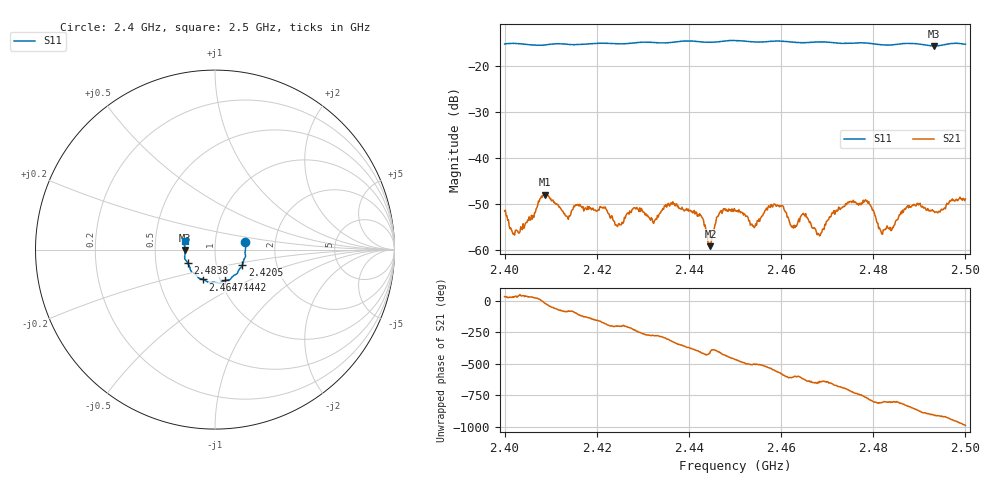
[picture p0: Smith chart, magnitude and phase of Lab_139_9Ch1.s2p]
# Hz S RI R 50
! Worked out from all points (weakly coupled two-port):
!   601 points, 2.4 GHz to 2.5 GHz, reference 50 ohm
!   highest |S21| = -47.91 dB at 2.4087 GHz (marker M1); lowest = -59.1 dB at 2.4447 GHz (marker M2)
!   lowest |S11| = -15.6 dB at 2.4932 GHz (marker M3), VSWR 1.40, Z = 35.8 - j0.164 ohm
!   |S11| at or under -10 dB: start of sweep to end of sweep
!   S12 and S22 are empty: the file has one direction only
!   S11 on the Smith chart (normalised r, x): 2.4 GHz: 1.40, +0.12; 2.4205 GHz: 1.34, -0.24; 2.4442 GHz: 1.05, -0.37; 2.4647 GHz: 0.83, -0.29; 2.4838 GHz: 0.73, -0.11; 2.5 GHz: 0.71, +0.07
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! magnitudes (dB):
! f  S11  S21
! 2.4 GHz  -15.2  -51.5
! 2.4027 GHz  -15.1  -55.7
! 2.4087 GHz  -15.4  -47.9
! 2.4137 GHz  -15.3  -52.8
! 2.4167 GHz  -15.3  -50.5
! 2.4205 GHz  -15.1  -51.3
! 2.4333 GHz  -15.0  -52.8
! 2.4412 GHz  -14.6  -51.4
! 2.4442 GHz  -14.8  -58.6
! 2.4447 GHz  -14.8  -59.1
! 2.4465 GHz  -14.7  -52.2
! 2.45 GHz  -14.4  -51.4
! 2.4538 GHz  -14.7  -54.7
! 2.4583 GHz  -14.6  -50.1
! 2.4647 GHz  -14.9  -52.2
! 2.4667 GHz  -14.8  -55.0
! 2.4783 GHz  -15.0  -49.0
! 2.4833 GHz  -15.5  -55.3
! 2.4838 GHz  -15.4  -55.7
! 2.4873 GHz  -15.1  -50.5
! 2.4932 GHz  -15.6  -51.5
! 2.5 GHz  -15.3  -48.8
